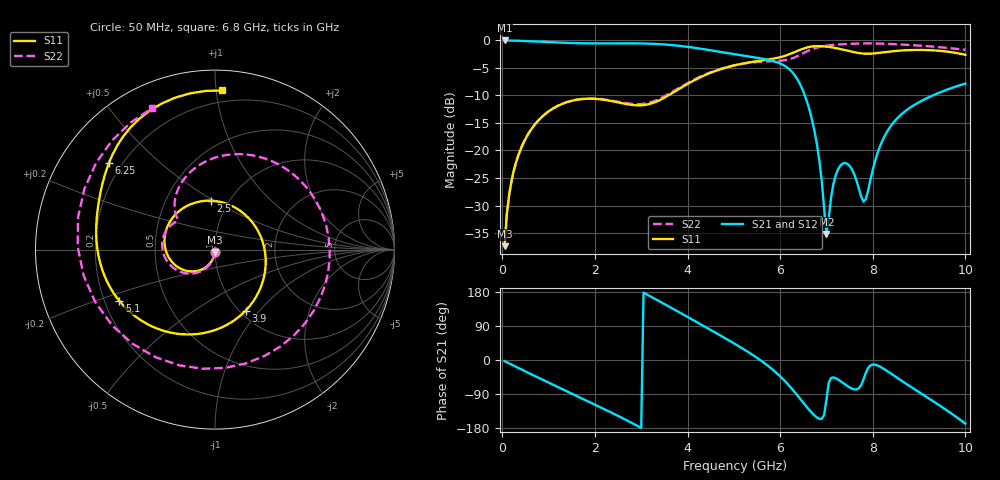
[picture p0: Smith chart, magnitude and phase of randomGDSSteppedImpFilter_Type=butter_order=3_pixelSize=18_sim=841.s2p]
! freq	dB(S11)	phase(S11)	dB(S12)	phase(S12)
!  dB(S21)	phase(S21)	dB(S22)	phase(S22)
!S-par simulation data
#  GHz  S  DB  R 50
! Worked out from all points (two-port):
!   200 points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, 50 MHz to 10 GHz, reference 50 ohm
!   highest |S21| = -0.01 dB at 50 MHz (marker M1); lowest = -35.2 dB at 7 GHz (marker M2)
!   |S21| within 3 dB of the highest: start of sweep to 5.388 GHz
!   lowest |S11| = -37.4 dB at 50 MHz (marker M3), VSWR 1.03, Z = 49.9 - j1.35 ohm
!   |S11| at or under -10 dB: start of sweep to 3.584 GHz
!   |S22| runs from -37.4 to -0.5 dB; largest |S21 - S12| = 0
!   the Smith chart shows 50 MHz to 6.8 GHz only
!   S11 on the Smith chart (normalised r, x): 50 MHz: 1.00, -0.03; 2.5 GHz: 0.82, +0.49; 3.9 GHz: 1.06, -0.85; 5.1 GHz: 0.26, -0.24; 6.25 GHz: 0.15, +0.35; 6.8 GHz: 0.12, +1.04
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0.05  -37.39 -92.4  -0.01 -3.1  -0.01 -3.1  -37.39 -92.1
0.2  -25.50 -102.8  -0.03 -12.2  -0.03 -12.2  -25.50 -101.6
0.5  -17.89 -122.2  -0.11 -30.2  -0.11 -30.2  -17.89 -119.1
1.75  -10.64 156.5  -0.52 -103.0  -0.52 -103.0  -10.61 176.5
2.5  -11.26 95.0  -0.53 -147.5  -0.53 -147.5  -11.15 149.3
3.4  -10.85 -10.3  -0.68 154.5  -0.68 154.5  -10.60 137.8
3.9  -8.39 -63.3  -1.06 120.6  -1.06 120.6  -8.22 122.8
5.05  -4.46 -148.7  -2.56 40.5  -2.56 40.5  -4.46 48.8
5.1  -4.37 -151.8  -2.62 36.8  -2.62 36.8  -4.37 44.6
5.75  -3.46 170.3  -3.55 -16.6  -3.55 -16.6  -3.80 -24.7
6.25  -2.34 140.6  -5.68 -75.4  -5.68 -75.4  -3.28 -119.0
6.5  -1.49 120.0  -9.26 -113.0  -9.26 -113.0  -2.33 178.8
6.7  -1.10 99.1  -14.85 -141.4  -14.85 -141.4  -1.56 133.4
6.8  -1.04 87.6  -19.18 -152.2  -19.18 -152.2  -1.29 114.1
7  -1.13 62.5  -35.16 -103.6  -35.16 -103.6  -0.95 82.2
7.4  -1.77 -0.7  -22.28 -64.2  -22.28 -64.2  -0.68 37.4
7.8  -2.40 -86.0  -29.30 -51.3  -29.30 -51.3  -0.55 5.9
8.1  -2.30 -150.5  -20.54 -14.3  -20.54 -14.3  -0.57 -13.3
8.35  -2.05 164.9  -16.03 -32.4  -16.03 -32.4  -0.64 -27.3
9  -1.73 76.5  -11.22 -84.9  -11.22 -84.9  -0.94 -57.7
9.55  -1.98 8.8  -9.12 -128.7  -9.12 -128.7  -1.31 -79.4
10  -2.61 -53.7  -7.85 -167.9  -7.85 -167.9  -1.70 -95.1
